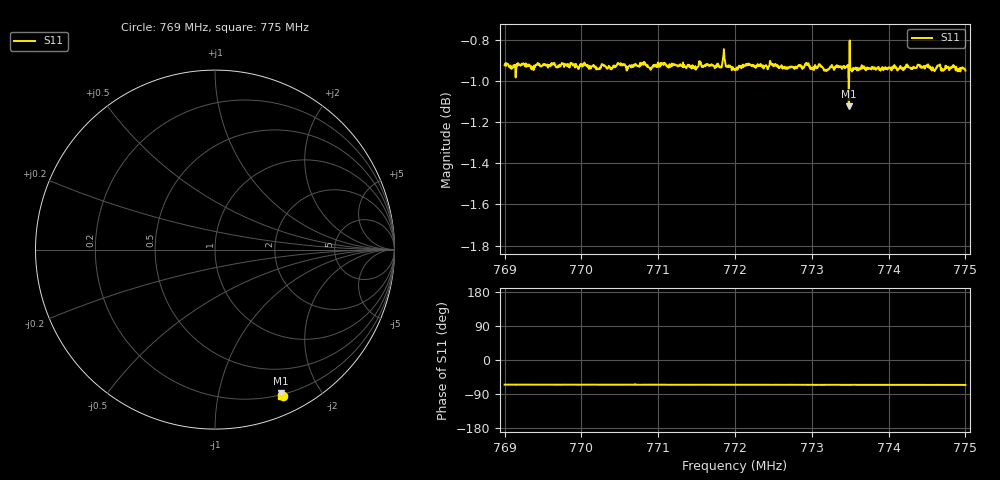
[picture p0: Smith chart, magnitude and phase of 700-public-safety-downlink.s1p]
! Calibrated averaged scanner-service zoom
# Hz S RI R 50
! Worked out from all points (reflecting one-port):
!   1001 points, 769 MHz to 775 MHz, reference 50 ohm
!   lowest |S11| = -1.1 dB at 773.482 MHz (marker M1), VSWR 15.49, Z = 10.9 - j76.8 ohm
!   phase of S11 starts at -65 deg and turns -1 deg over the sweep
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7.69e8  0.3796 -0.8151
7.6975e8  0.3786 -0.8163
7.69948e8  0.3776 -0.8148
7.70158e8  0.3778 -0.8152
7.7023e8  0.3766 -0.8147
7.705e8  0.3777 -0.8163
7.70674e8  0.3771 -0.8162
7.7074e8  0.3763 -0.8163
7.70896e8  0.377 -0.8142
7.71064e8  0.378 -0.8161
7.7113e8  0.3756 -0.8165
7.7125e8  0.3767 -0.8163
7.7179e8  0.3756 -0.8167
7.7185e8  0.3769 -0.8222
7.72e8  0.3747 -0.8153
7.72192e8  0.376 -0.8173
7.7227e8  0.3727 -0.8168
7.72336e8  0.3752 -0.8178
7.7248e8  0.3743 -0.8181
7.7275e8  0.3738 -0.8169
7.72936e8  0.3718 -0.8188
7.73188e8  0.372 -0.8157
7.73266e8  0.3736 -0.8176
7.73482e8  0.3657 -0.799
7.735e8  0.3714 -0.8175
7.7425e8  0.3699 -0.8195
7.74856e8  0.3701 -0.819
7.75e8  0.366 -0.8184
